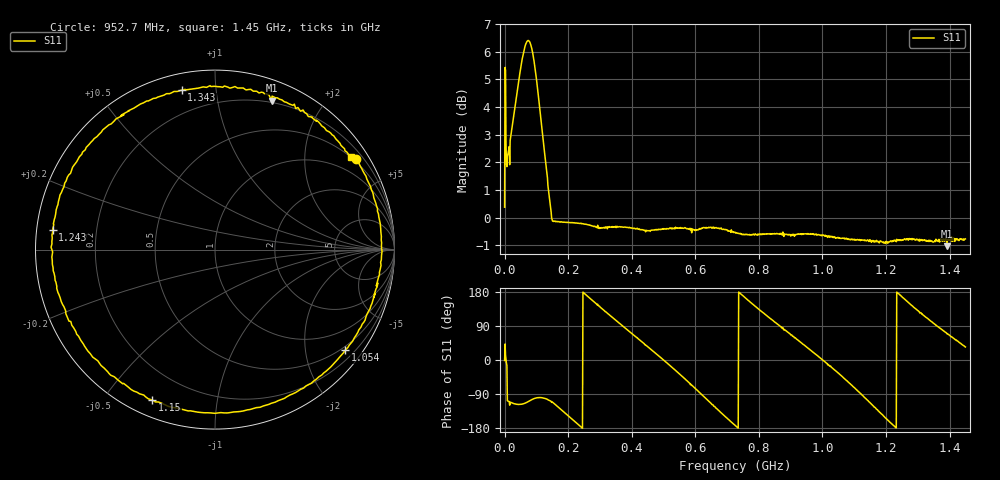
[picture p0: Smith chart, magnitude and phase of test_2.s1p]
! Created with skrf 1.11.0 (http://scikit-rf.org).
# Hz S RI R 50.0
!freq ReS11 ImS11
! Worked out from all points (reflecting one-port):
!   1001 points, 50 kHz to 1.45 GHz, reference 50 ohm
!   lowest |S11| = -1.0 dB at 1.392 GHz (marker M1), VSWR 16.83, Z = 9.15 + j71.7 ohm
!   phase of S11 starts at -1 deg and turns -1044 deg over the sweep
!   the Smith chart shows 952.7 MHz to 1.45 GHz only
!   S11 on the Smith chart (normalised r, x): 952.7 MHz: 0.43, +3.37; 1.054 GHz: 0.41, -2.89; 1.15 GHz: 0.07, -0.66; 1.243 GHz: 0.05, +0.06; 1.343 GHz: 0.08, +0.81; 1.45 GHz: 0.50, +3.17
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50000  1.044 -0.0228
1.599945e7  -0.6071 -1.088
5.079825e7  -0.8484 -1.663
7.54474e7  -0.6896 -1.972
1.17496e8  -0.2399 -1.429
1.812938e8  -0.6754 -0.712
2.639409e8  -0.9419 0.2317
3.625375e8  -0.103 0.9576
4.103858e8  0.435 0.8511
4.65484e8  0.8633 0.3952
5.437812e8  0.813 -0.508
5.887297e8  0.364 -0.8653
6.307782e8  -0.1567 -0.9448
6.829764e8  -0.7367 -0.6054
7.25025e8  -0.9327 -0.125
8.236216e8  -0.4377 0.8254
9.062688e8  0.4302 0.823
9.526672e8  0.7867 0.5024
1.003415e9  0.928 -0.0303
1.054164e9  0.7267 -0.5597
1.087512e9  0.4192 -0.8093
1.14986e9  -0.3492 -0.8385
1.197709e9  -0.7979 -0.4214
1.242657e9  -0.9047 0.1116
1.268756e9  -0.8147 0.4162
1.342704e9  -0.1863 0.8877
1.392002e9  0.3154 0.8299
1.45e9  0.7558 0.5161
